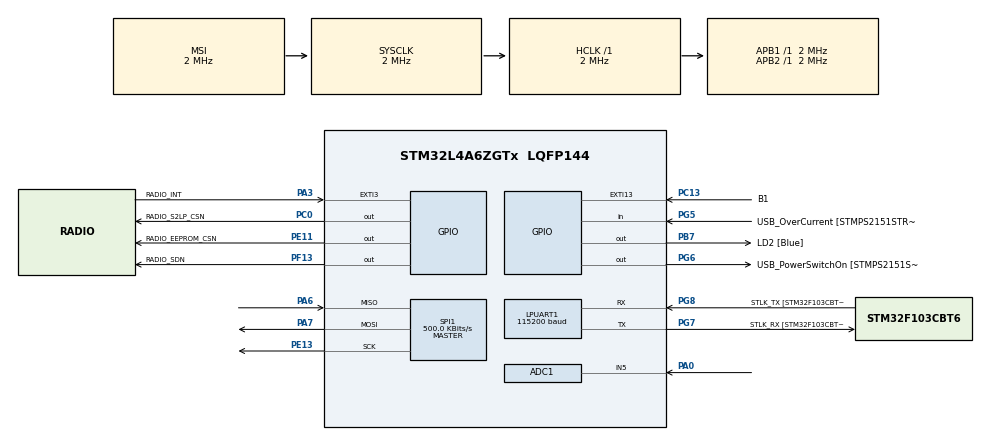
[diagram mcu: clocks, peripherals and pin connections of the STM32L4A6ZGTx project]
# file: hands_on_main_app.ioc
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ADC1.Channel-0\#ChannelRegularConversion=ADC_CHANNEL_5
ADC1.ClockPrescaler=ADC_CLOCK_ASYNC_DIV10
ADC1.DMAContinuousRequests=ENABLE
ADC1.ExternalTrigConv=ADC_EXTERNALTRIG_T3_TRGO
ADC1.NbrOfConversionFlag=1
ADC1.OffsetNumber-0\#ChannelRegularConversion=ADC_OFFSET_NONE
ADC1.Rank-0\#ChannelRegularConversion=1
ADC1.SamplingTime-0\#ChannelRegularConversion=ADC_SAMPLETIME_2CYCLES_5
ADC1.master=1
AES.Data\ encryption\ types\ list=AESCBC
AES.DataType=CRYP_DATATYPE_32B
Dma.ADC1.0.Direction=DMA_PERIPH_TO_MEMORY
Dma.ADC1.0.Instance=DMA1_Channel1
Dma.ADC1.0.MemDataAlignment=DMA_MDATAALIGN_HALFWORD
Dma.ADC1.0.MemInc=DMA_MINC_ENABLE
Dma.ADC1.0.Mode=DMA_CIRCULAR
Dma.ADC1.0.PeriphDataAlignment=DMA_PDATAALIGN_HALFWORD
Dma.ADC1.0.PeriphInc=DMA_PINC_DISABLE
Dma.ADC1.0.Priority=DMA_PRIORITY_LOW
Dma.Request0=ADC1
LPUART1.BaudRate=115200
LPUART1.WordLength=UART_WORDLENGTH_8B
Mcu.Family=STM32L4
Mcu.Name=STM32L4A6ZGTx
Mcu.Package=LQFP144
NVIC.DMA1_Channel1_IRQn=true\:1\:0\:true\:false\:true\:false\:true\:true
NVIC.EXTI15_10_IRQn=true\:0\:0\:false\:false\:true\:true\:true\:true
NVIC.EXTI3_IRQn=true\:0\:0\:false\:false\:true\:true\:true\:true
NVIC.PriorityGroup=NVIC_PRIORITYGROUP_4
NVIC.TIM3_IRQn=true\:0\:0\:true\:false\:true\:true\:true\:true
PA0.Signal=ADCx_IN5
PA10.GPIO_Label=USB_ID
PA10.Signal=USB_OTG_FS_ID
PA11.GPIO_Label=USB_DM
PA11.Signal=USB_OTG_FS_DM
PA12.GPIO_Label=USB_DP
PA12.Signal=USB_OTG_FS_DP
PA13\ (JTMS/SWDIO).GPIO_Label=TMS
PA13\ (JTMS/SWDIO).Mode=Trace_Asynchronous_SW
PA13\ (JTMS/SWDIO).Signal=SYS_JTMS-SWDIO
PA14\ (JTCK/SWCLK).GPIO_Label=TCK
PA14\ (JTCK/SWCLK).Mode=Trace_Asynchronous_SW
PA14\ (JTCK/SWCLK).Signal=SYS_JTCK-SWCLK
PA3.GPIO_Label=RADIO_INT
PA3.GPIO_ModeDefaultEXTI=GPIO_MODE_IT_FALLING
PA3.Signal=GPXTI3
PA6.Mode=Full_Duplex_Master
PA6.Signal=SPI1_MISO
PA7.Mode=Full_Duplex_Master
PA7.Signal=SPI1_MOSI
PA8.GPIO_Label=USB_SOF [TP1]
PA8.Signal=USB_OTG_FS_SOF
PA9.GPIO_Label=USB_VBUS
PA9.Signal=USB_OTG_FS_VBUS
PB3\ (JTDO/TRACESWO).GPIO_Label=SWO
PB3\ (JTDO/TRACESWO).Mode=Trace_Asynchronous_SW
PB3\ (JTDO/TRACESWO).Signal=SYS_JTDO-SWO
PB7.GPIO_Label=LD2 [Blue]
PB7.Signal=GPIO_Output
PC0.GPIO_Label=RADIO_S2LP_CSN
PC0.GPIO_Speed=GPIO_SPEED_FREQ_VERY_HIGH
PC0.PinState=GPIO_PIN_SET
PC0.Signal=GPIO_Output
PC13.GPIO_Label=B1
PC13.GPIO_ModeDefaultEXTI=GPIO_MODE_IT_RISING
PC13.Signal=GPXTI13
PC14-OSC32_IN\ (PC14).Mode=LSE-External-Oscillator
PC14-OSC32_IN\ (PC14).Signal=RCC_OSC32_IN
PC15-OSC32_OUT\ (PC15).Mode=LSE-External-Oscillator
PC15-OSC32_OUT\ (PC15).Signal=RCC_OSC32_OUT
PE11.GPIO_Label=RADIO_EEPROM_CSN
PE11.PinState=GPIO_PIN_SET
PE11.Signal=GPIO_Output
PE13.Mode=Full_Duplex_Master
PE13.Signal=SPI1_SCK
PF13.GPIO_Label=RADIO_SDN
PF13.PinState=GPIO_PIN_SET
PF13.Signal=GPIO_Output
PG5.GPIO_Label=USB_OverCurrent [STMPS2151STR_FAULT]
PG5.Signal=GPIO_Input
PG6.GPIO_Label=USB_PowerSwitchOn [STMPS2151STR_EN]
PG6.Signal=GPIO_Output
PG7.GPIO_Label=STLK_RX [STM32F103CBT6_PA3]
PG7.Mode=Asynchronous
PG7.Signal=LPUART1_TX
PG8.GPIO_Label=STLK_TX [STM32F103CBT6_PA2]
PG8.Mode=Asynchronous
PG8.Signal=LPUART1_RX
PH1-OSC_OUT\ (PH1).Signal=RCC_OSC_OUT
ProjectManager.HeapSize=0x200
ProjectManager.StackSize=0x400
ProjectManager.TargetToolchain=STM32CubeIDE
RCC.ADCCLockSelection=RCC_ADCCLKSOURCE_SYSCLK
RCC.ADCFreq_Value=2000000
RCC.AHBFreq_Value=2000000
RCC.APB1Freq_Value=2000000
RCC.APB1TimFreq_Value=2000000
RCC.APB2Freq_Value=2000000
RCC.APB2TimFreq_Value=2000000
RCC.CortexFreq_Value=2000000
RCC.FLatency=FLASH_LATENCY_0
RCC.HCLKFreq_Value=2000000
RCC.HSE_VALUE=8000000
RCC.HSI48_VALUE=48000000
RCC.HSI_VALUE=16000000
RCC.LPUART1CLockSelection=RCC_LPUART1CLKSOURCE_SYSCLK
RCC.MSIClockRange=RCC_MSIRANGE_5
RCC.MSI_VALUE=2000000
RCC.PLLN=18
RCC.PLLR=RCC_PLLR_DIV6
RCC.PLLSAI1N=24
RCC.PWR_Regulator_Voltage_Scale=PWR_REGULATOR_VOLTAGE_SCALE2
RCC.SYSCLKFreq_VALUE=2000000
RCC.USBFreq_Value=24000000
RCC.VCOOutputFreq_Value=36000000
SH.ADCx_IN5.0=ADC1_IN5,IN5-Single-Ended
SPI1.BaudRatePrescaler=SPI_BAUDRATEPRESCALER_4
SPI1.CalculateBaudRate=500.0 KBits/s
SPI1.DataSize=SPI_DATASIZE_8BIT
SPI1.Direction=SPI_DIRECTION_2LINES
SPI1.Mode=SPI_MODE_MASTER
SPI1.VirtualType=VM_MASTER
TIM3.Period=20
TIM3.Prescaler=9
TIM3.TIM_MasterOutputTrigger=TIM_TRGO_UPDATE
VP_AES_VS_AES.Mode=AES_Activate
VP_TIM3_VS_ClockSourceINT.Mode=Internal
board=NUCLEO-L4A6ZG

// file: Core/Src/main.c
/* USER CODE BEGIN Header */
/**
  ******************************************************************************
  * @file           : main.c
  * @brief          : Main program body
  ******************************************************************************
  * @attention
  *
  * <h2><center>&copy; Copyright (c) 2021 STMicroelectronics.
  * All rights reserved.</center></h2>
  *
  * This software component is licensed by ST under BSD 3-Clause license,
  * the "License"; You may not use this file except in compliance with the
  * License. You may obtain a copy of the License at:
  *                        opensource.org/licenses/BSD-3-Clause
  *
  ******************************************************************************
  */
/* USER CODE END Header */
#include "main.h"
#include "adc.h"
#include "aes.h"
#include "dma.h"
#include "usart.h"
#include "spi.h"
#include "tim.h"
#include "gpio.h"

/* USER CODE BEGIN Includes */
#include <stdio.h>
#include <string.h>
#include "arm_math.h"
#include "adc_dblbuf.h"
#include "s2lp.h"
#include "spectrogram.h"
#include "eval_radio.h"
#include "packet.h"
#include "config.h"
#include "utils.h"

/* USER CODE END Includes */

/* USER CODE BEGIN PV */

volatile uint8_t btn_press;

/* USER CODE END PV */

void SystemClock_Config(void);

/* USER CODE BEGIN 0 */

void HAL_GPIO_EXTI_Callback(uint16_t GPIO_Pin)
{
	if (GPIO_Pin == B1_Pin) {
		btn_press = 1;
	}
	else if (GPIO_Pin == RADIO_INT_Pin)
		S2LP_IRQ_Handler();
}

static void acquire_and_send_packet() {
	if (StartADCAcq() != HAL_OK) {	//retire argument
		DEBUG_PRINT("Error while enabling the DMA\r\n");
	}
	while (!IsADCFinished()) {
		//start_cycle_count();
		HAL_SuspendTick();
		HAL_PWR_EnterSLEEPMode(PWR_LOWPOWERREGULATOR_ON, PWR_SLEEPENTRY_WFI);
		//__WFI();
		//stop_cycle_count("wfi");
		//fait pas chier
	}
}

void run(void)
{
	btn_press = 0;

	while (1)
	{
	  HAL_PWREx_EnableLowPowerRunMode();
	  while (!btn_press) {
		  continue;
	  }
	  btn_press = 0;
#if (CONTINUOUS_ACQ == 1)
		  //start_cycle_count();
		  acquire_and_send_packet();
		  //stop_cycle_count("acq");
	  btn_press = 0;
#elif (CONTINUOUS_ACQ == 0 )
	  //start_cycle_count();
	  acquire_and_send_packet();
	  //stop_cycle_count("acquire paquet");
#else
#error "Wrong value for CONTINUOUS_ACQ."
#endif
	}
}

/* USER CODE END 0 */

int main(void)
{

  /* USER CODE BEGIN 1 */
	printf("bienvenue\n");

  /* USER CODE END 1 */

  /* MCU Configuration--------------------------------------------------------*/

  /* Reset of all peripherals, Initializes the Flash interface and the Systick. */
  HAL_Init();

  /* Configure the system clock */
  SystemClock_Config();

  /* Initialize all configured peripherals */
  MX_GPIO_Init();
  MX_DMA_Init();
  MX_SPI1_Init();
  MX_TIM3_Init();
  MX_ADC1_Init();
  MX_AES_Init();
  MX_LPUART1_UART_Init();
  /* USER CODE BEGIN 2 */
  DEBUG_PRINT("Hello world\r\n");

#if ENABLE_RADIO
  // Enable S2LP Radio
  HAL_StatusTypeDef err = S2LP_Init(&hspi1);
  if (err)  {
	  DEBUG_PRINT("[S2LP] Error while initializing: %u\r\n", err);
	  Error_Handler();
  } else {
	  DEBUG_PRINT("[S2LP] Init OK\r\n");
  }
#endif

  if (HAL_ADCEx_Calibration_Start(&hadc1, ADC_SINGLE_ENDED) != HAL_OK) {
	  DEBUG_PRINT("Error while calibrating the ADC\r\n");
	  Error_Handler();
  }
  if (HAL_TIM_Base_Start(&htim3) != HAL_OK) {
	  DEBUG_PRINT("Error while enabling timer TIM3\r\n");
	  Error_Handler();
  }
  /* USER CODE END 2 */

  /* Infinite loop */
  /* USER CODE BEGIN WHILE */
#if (RUN_CONFIG == MAIN_APP)
  run();
#elif (RUN_CONFIG == EVAL_RADIO)
  eval_radio();
#else
#error "Wrong value for RUN_CONFIG."
#endif

    /* USER CODE END WHILE */

}

void SystemClock_Config(void)
{
  RCC_OscInitTypeDef RCC_OscInitStruct = {0};
  RCC_ClkInitTypeDef RCC_ClkInitStruct = {0};

  /** Configure the main internal regulator output voltage
  */
  if (HAL_PWREx_ControlVoltageScaling(PWR_REGULATOR_VOLTAGE_SCALE2) != HAL_OK)
  {
    Error_Handler();
  }

  /** Initializes the RCC Oscillators according to the specified parameters
  * in the RCC_OscInitTypeDef structure.
  */
  RCC_OscInitStruct.OscillatorType = RCC_OSCILLATORTYPE_MSI;
  RCC_OscInitStruct.MSIState = RCC_MSI_ON;
  RCC_OscInitStruct.MSICalibrationValue = 0;
  RCC_OscInitStruct.MSIClockRange = RCC_MSIRANGE_5;
  RCC_OscInitStruct.PLL.PLLState = RCC_PLL_NONE;
  if (HAL_RCC_OscConfig(&RCC_OscInitStruct) != HAL_OK)
  {
    Error_Handler();
  }

  /** Initializes the CPU, AHB and APB buses clocks
  */
  RCC_ClkInitStruct.ClockType = RCC_CLOCKTYPE_HCLK|RCC_CLOCKTYPE_SYSCLK
                              |RCC_CLOCKTYPE_PCLK1|RCC_CLOCKTYPE_PCLK2;
  RCC_ClkInitStruct.SYSCLKSource = RCC_SYSCLKSOURCE_MSI;
  RCC_ClkInitStruct.AHBCLKDivider = RCC_SYSCLK_DIV1;
  RCC_ClkInitStruct.APB1CLKDivider = RCC_HCLK_DIV1;
  RCC_ClkInitStruct.APB2CLKDivider = RCC_HCLK_DIV1;

  if (HAL_RCC_ClockConfig(&RCC_ClkInitStruct, FLASH_LATENCY_0) != HAL_OK)
  {
    Error_Handler();
  }
}

void Error_Handler(void)
{
  /* USER CODE BEGIN Error_Handler_Debug */
  __disable_irq();
  DEBUG_PRINT("Entering error Handler\r\n");
  while (1)
  {
	  // Blink LED3 (red)
	  HAL_GPIO_WritePin(GPIOB, LD2_Pin, GPIO_PIN_SET);
	  for (volatile int i=0; i < SystemCoreClock/200; i++);
	  HAL_GPIO_WritePin(GPIOB, LD2_Pin, GPIO_PIN_RESET);
	  for (volatile int i=0; i < SystemCoreClock/200; i++);
  }
  /* USER CODE END Error_Handler_Debug */
}

#ifdef  USE_FULL_ASSERT
/**
  * @brief  Reports the name of the source file and the source line number
  *         where the assert_param error has occurred.
  * @param  file: pointer to the source file name
  * @param  line: assert_param error line source number
  * @retval None
  */
void assert_failed(uint8_t *file, uint32_t line)
{
  /* USER CODE BEGIN 6 */
  /* User can add his own implementation to report the file name and line number,
     ex: DEBUG_PRINT("Wrong parameters value: file %s on line %d\r\n", file, line) */
  /* USER CODE END 6 */
}
#endif /* USE_FULL_ASSERT */
